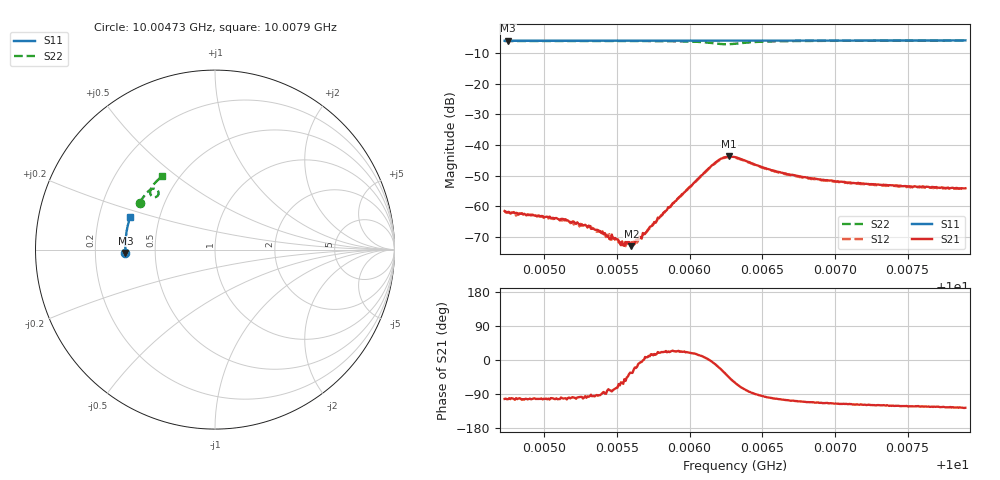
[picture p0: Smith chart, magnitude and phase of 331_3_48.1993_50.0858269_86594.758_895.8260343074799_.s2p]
#  HZ  S  RI  R  50.00
! Rohde & Schwarz Vector Network Analyzer
! Rohde-Schwarz,ZNB20-2Port,1311601062101988,3.16
! Created: UTC 3/20/2024, 11:50:54 AM
! freq[Hz]  re:S11  im:S11  re:S21  im:S21  re:S12  im:S12  re:S22  im:S22
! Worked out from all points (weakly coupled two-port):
!   401 points, 10.00473 GHz to 10.0079 GHz, reference 50 ohm
!   highest |S21| = -43.73 dB at 10.00627 GHz (marker M1); lowest = -73.0 dB at 10.0056 GHz (marker M2)
!   lowest |S11| = -6.0 dB at 10.00475 GHz (marker M3), VSWR 2.99, Z = 16.7 - j0.814 ohm
!   |S11| at or under -10 dB: nowhere
!   |S22| runs from -7.2 to -6.0 dB; largest |S21 - S12| = 0.00037
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1.0004727e10  -0.4987 -0.0199  -0.000185 -0.000816  -0.000138 -0.000809  -0.4185 0.2617
1.0004751e10  -0.4986 -0.0183  -0.000189 -0.000789  -0.000134 -0.000777  -0.4176 0.2632
1.0005132e10  -0.4998 0.0064  -0.000124 -0.000606  -0.000106 -0.000591  -0.404 0.2857
1.0005258e10  -0.5 0.0148  -6.39e-05 -0.000505  -4.27e-05 -0.000482  -0.3989 0.2933
1.0005322e10  -0.4999 0.0188  -1.28e-05 -0.000428  -1.71e-05 -0.000466  -0.3963 0.2971
1.0005401e10  -0.4999 0.024  2.21e-05 -0.000389  1.79e-05 -0.000357  -0.3927 0.3019
1.0005441e10  -0.4998 0.0265  7.31e-05 -0.000316  1.33e-05 -0.000332  -0.3908 0.3043
1.000548e10  -0.4998 0.029  6.45e-05 -0.000288  0.000103 -0.000279  -0.389 0.3068
1.0005544e10  -0.4996 0.0332  0.000104 -0.000205  0.000119 -0.00019  -0.3858 0.3106
1.0005576e10  -0.4995 0.0352  0.000191 -0.000181  0.000195 -0.000138  -0.3842 0.3126
1.0005599e10  -0.4994 0.0368  0.000186 -0.000125  0.000232 -0.000117  -0.383 0.3141
1.0005639e10  -0.4993 0.0394  0.000275 -8.86e-05  0.000252 -4.88e-05  -0.3807 0.3165
1.0005686e10  -0.4991 0.0425  0.000349 6.47e-06  0.000328 2.77e-05  -0.3777 0.3195
1.000579e10  -0.4987 0.0492  0.0006 0.000209  0.000597 0.000222  -0.3707 0.3262
1.0006146e10  -0.4963 0.0721  0.00444 -0.000212  0.00438 1.1e-05  -0.321 0.3312
1.0006218e10  -0.4957 0.0765  0.00542 -0.00253  0.00538 -0.00226  -0.3144 0.3103
1.0006273e10  -0.4953 0.0799  0.00449 -0.00472  0.0046 -0.00438  -0.3257 0.2947
1.0006313e10  -0.4949 0.082  0.00315 -0.0055  0.00333 -0.00525  -0.3385 0.2919
1.0006582e10  -0.4927 0.0996  -0.000763 -0.00372  -0.000549 -0.00367  -0.3599 0.3306
1.0006844e10  -0.4897 0.1163  -0.00104 -0.00265  -0.000915 -0.00265  -0.3487 0.3535
1.0007375e10  -0.4817 0.1494  -0.00114 -0.00189  -0.000984 -0.00191  -0.3225 0.3837
1.0007898e10  -0.4717 0.1816  -0.00116 -0.00159  -0.00104 -0.00161  -0.296 0.4076
